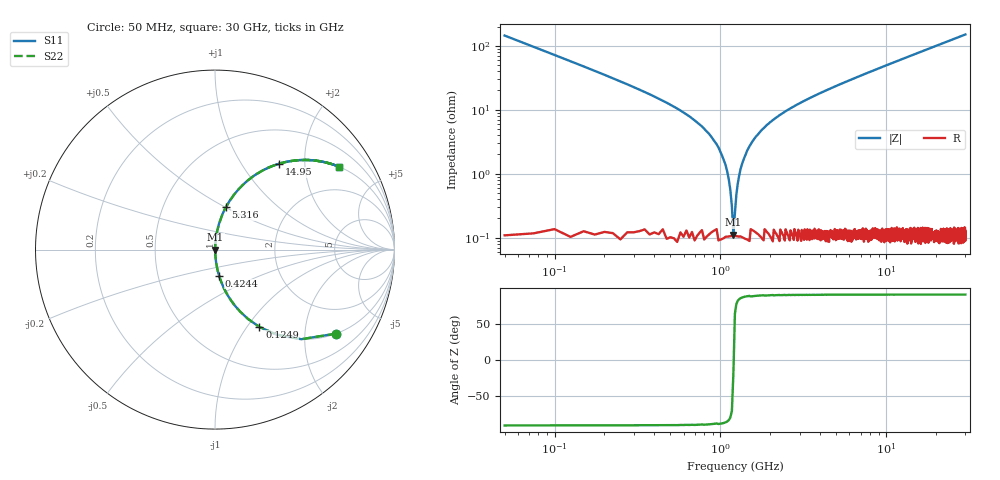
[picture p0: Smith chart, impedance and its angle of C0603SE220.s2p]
!	AVX Thin Film Operation 	Date: April 2014
!	Description: Accu-P® Series, Thin Film  SMD RF Capacitor
!	Part Number: 06033J220FBSTR
# MHZ S MA R 50
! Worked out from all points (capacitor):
!   1201 points, 50 MHz to 30 GHz, reference 50 ohm
!   read as one part in series: C = 22 pF near 199.8 MHz
!   lowest |Z| = 112 mohm at 1.198 GHz (marker M1)
!   series resonance near 1.201 GHz, so ESL is about 800 pH
!   S11 on the Smith chart (normalised r, x): 50 MHz: 1.00, -2.89; 124.9 MHz: 1.00, -1.15; 424.4 MHz: 1.00, -0.30; 5.316 GHz: 1.00, +0.51; 14.95 GHz: 1.00, +1.49; 30 GHz: 1.00, +3.00
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50  0.822 -34.7  0.569 55.3  0.569 55.3  0.822 -34.7
124.875  0.497 -60.1  0.867 29.8  0.867 29.8  0.497 -60.1
249.667  0.267 -74.3  0.963 15.5  0.963 15.5  0.267 -74.3
424.375  0.147 -81.1  0.988 8.5  0.988 8.5  0.147 -81.1
873.625  0.039 -86.1  0.998 2.2  0.998 2.2  0.039 -86.1
998.417  0.022 -85.8  0.999 1.3  0.999 1.3  0.022 -85.8
1098.25  0.011 -83.4  0.999 0.6  0.999 0.6  0.011 -83.4
1198.083  0.001179 -16.7  0.999 0.0  0.999 0.0  0.001179 -16.7
1297.917  0.009366 82.5  0.999 -0.5  0.999 -0.5  0.009366 82.5
1422.708  0.02 85.7  0.999 -1.2  0.999 -1.2  0.02 85.7
1572.458  0.033 86.2  0.998 -1.9  0.998 -1.9  0.033 86.2
1797.083  0.05 85.9  0.998 -2.8  0.998 -2.8  0.05 85.9
2121.542  0.072 85.0  0.996 -4.1  0.996 -4.1  0.072 85.0
3244.667  0.139 81.6  0.989 -8.0  0.989 -8.0  0.139 81.6
5041.667  0.232 76.3  0.972 -13.4  0.972 -13.4  0.232 76.3
5316.208  0.245 75.6  0.968 -14.2  0.968 -14.2  0.245 75.6
10058.29  0.445 63.5  0.895 -26.4  0.895 -26.4  0.445 63.5
14950.12  0.597 53.3  0.802 -36.6  0.802 -36.6  0.597 53.3
15025  0.599 53.1  0.8 -36.8  0.8 -36.8  0.599 53.1
20016.67  0.707 45.0  0.707 -45.0  0.707 -45.0  0.707 45.0
25033.29  0.781 38.6  0.624 -51.3  0.624 -51.3  0.781 38.6
30000  0.832 33.7  0.554 -56.3  0.554 -56.3  0.832 33.7
